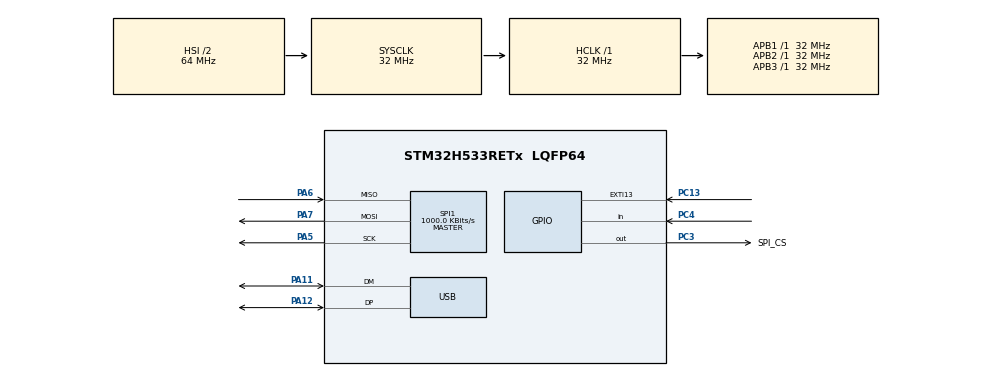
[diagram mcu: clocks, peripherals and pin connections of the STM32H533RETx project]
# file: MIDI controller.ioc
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BOOTPATH.BootPathName=LEGACY
BOOTPATH.UserSelectedBootPath=LEGACY
CORTEX_M33_NS.userName=CORTEX_M33
Mcu.Family=STM32H5
Mcu.Name=STM32H533RETx
Mcu.Package=LQFP64
NUCLEO-H533RE.BUTTON=1
NUCLEO-H533RE.LD4=true
NUCLEO-H533RE.VCP=true
NVIC.EXTI13_IRQn=true\:0\:0\:false\:false\:true\:false\:true\:true
NVIC.PriorityGroup=NVIC_PRIORITYGROUP_4
PA11.Mode=Device
PA11.Signal=USB_DM
PA12.Mode=Device
PA12.Signal=USB_DP
PA13(JTMS/SWDIO).GPIO_Label=SWDIO
PA13(JTMS/SWDIO).Signal=DEBUG_JTMS-SWDIO
PA14(JTCK/SWCLK).GPIO_Label=SWCLK
PA14(JTCK/SWCLK).Signal=DEBUG_JTCK-SWCLK
PA15(JTDI).GPIO_Label=JTDI
PA15(JTDI).Signal=DEBUG_JTDI
PA2.Signal=USART2_TX
PA3.Signal=USART2_RX
PA5.Mode=Full_Duplex_Master
PA5.Signal=SPI1_SCK
PA6.Mode=Full_Duplex_Master
PA6.Signal=SPI1_MISO
PA7.Mode=Full_Duplex_Master
PA7.Signal=SPI1_MOSI
PB3(JTDO/TRACESWO).GPIO_Label=SWO
PB3(JTDO/TRACESWO).Signal=DEBUG_JTDO-SWO
PC13.Signal=GPXTI13
PC3.GPIO_Label=SPI_CS
PC3.Signal=GPIO_Output
PC4.Signal=GPIO_Input
ProjectManager.HeapSize=0x200
ProjectManager.StackSize=0x400
ProjectManager.TargetToolchain=STM32CubeIDE
RCC.ADCFreq_Value=32000000
RCC.AHBFreq_Value=32000000
RCC.APB1Freq_Value=32000000
RCC.APB1TimFreq_Value=32000000
RCC.APB2Freq_Value=32000000
RCC.APB2TimFreq_Value=32000000
RCC.APB3Freq_Value=32000000
RCC.CSI_VALUE=4000000
RCC.CortexFreq_Value=32000000
RCC.EPOD_VALUE=4000000
RCC.HCLKFreq_Value=32000000
RCC.HSE_VALUE=25000000
RCC.HSI48_VALUE=48000000
RCC.HSI_VALUE=64000000
RCC.LSE_VALUE=32768
RCC.LSIRC_VALUE=32000
RCC.PLL1Q=3
RCC.PLLFRACN=0
RCC.PLLN=32
RCC.SPI1CLockSelection=RCC_SPI1CLKSOURCE_CLKP
RCC.SYSCLKFreq_VALUE=32000000
RCC.USBFreq_Value=48000000
RCC.VCOOutputFreq_Value=128000000
SPI1.BaudRatePrescaler=SPI_BAUDRATEPRESCALER_32
SPI1.CalculateBaudRate=1000.0 KBits/s
SPI1.DataSize=SPI_DATASIZE_8BIT
SPI1.Direction=SPI_DIRECTION_2LINES
SPI1.Mode=SPI_MODE_MASTER
SPI1.VirtualType=VM_MASTER
USB.VirtualMode=Device_Only
VP_BOOTPATH_VS_BOOTPATH.Mode=BP_Activate
VP_CORTEX_M33_NS_VS_Hclk.Mode=Hclk_Mode
VP_MEMORYMAP_VS_MEMORYMAP.Mode=CurAppReg
VP_NUCLEO-H533RE_VS_BSP_COMMON.Mode=COMMON
VP_PWR_VS_LPOM.Mode=PowerOptimisation
VP_PWR_VS_SECSignals.Mode=Security/Privilege
board=NUCLEO-H533RE

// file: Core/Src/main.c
/* USER CODE BEGIN Header */
/**
  ******************************************************************************
  * @file           : main.c
  * @brief          : Definitieve MIDI Matrix Controller met Diagnose-LED
  ******************************************************************************
  */
/* USER CODE END Header */
#include "main.h"

/* USER CODE BEGIN Includes */
#include <stdbool.h>
#include "tusb.h"
/* USER CODE END Includes */

/* USER CODE BEGIN PD */
#define ADDR_WRITE  0x40
#define ADDR_READ   0x41
#define IODIRA      0x00
#define IODIRB      0x01
#define GPPUB       0x0D
#define GPIOA_REG   0x12
#define GPIOB_REG   0x13
/* Debounce: 3 opeenvolgende scans (3 × 20ms = 60ms) moeten
 * consistent zijn voor een toestandsovergang wordt bevestigd. */
#define DEBOUNCE_THRESHOLD  3
/* USER CODE END PD */

SPI_HandleTypeDef hspi1;

PCD_HandleTypeDef hpcd_USB_DRD_FS;

/* USER CODE BEGIN PV */
bool    key_state[16]      = {false}; /* bevestigde toestand per toets */
uint8_t debounce_count[16] = {0};     /* integrator teller 0..DEBOUNCE_THRESHOLD */
/* USER CODE END PV */

void SystemClock_Config(void);
void PeriphCommonClock_Config(void);
static void MX_GPIO_Init(void);
static void MX_USB_PCD_Init(void);
static void MX_SPI1_Init(void);
/* USER CODE BEGIN PFP */
void MCP_Write(uint8_t reg, uint8_t data);
uint8_t MCP_Read(uint8_t reg);
void Matrix_Scan(void);
/* USER CODE END PFP */

/* USER CODE BEGIN 0 */
void MCP_Write(uint8_t reg, uint8_t data) {
    uint8_t tx[3] = {ADDR_WRITE, reg, data};
    HAL_GPIO_WritePin(SPI_CS_GPIO_Port, SPI_CS_Pin, GPIO_PIN_RESET);
    HAL_SPI_Transmit(&hspi1, tx, 3, 10);
    HAL_GPIO_WritePin(SPI_CS_GPIO_Port, SPI_CS_Pin, GPIO_PIN_SET);
}

uint8_t MCP_Read(uint8_t reg) {
    uint8_t tx[3] = {ADDR_READ, reg, 0x00};
    uint8_t rx[3] = {0, 0, 0};
    HAL_GPIO_WritePin(SPI_CS_GPIO_Port, SPI_CS_Pin, GPIO_PIN_RESET);
    HAL_SPI_TransmitReceive(&hspi1, tx, rx, 3, 10);
    HAL_GPIO_WritePin(SPI_CS_GPIO_Port, SPI_CS_Pin, GPIO_PIN_SET);
    return rx[2];
}

void Matrix_Scan(void) {
    for (int col = 0; col < 4; col++) {
        MCP_Write(GPIOA_REG, (uint8_t)(~(1u << col)));
        uint8_t rows = MCP_Read(GPIOB_REG) & 0x0F;

        for (int row = 0; row < 4; row++) {
            int     index = (row * 4) + col;
            uint8_t note  = 60 + index;

            /* Ruwe (niet-gedebounced) lezing: actief LAAG */
            bool raw = !(rows & (1u << row));

            /* Integrator debounce:
             *   Ingedrukt  → teller omhoog tot DEBOUNCE_THRESHOLD
             *   Losgelaten → teller omlaag tot 0
             * Toestand wordt pas bevestigd bij respectievelijk
             * de bovengrens of de ondergrens. */
            if (raw) {
                if (debounce_count[index] < DEBOUNCE_THRESHOLD)
                    debounce_count[index]++;
            } else {
                if (debounce_count[index] > 0)
                    debounce_count[index]--;
            }

            bool debounced_pressed  = (debounce_count[index] >= DEBOUNCE_THRESHOLD);
            bool debounced_released = (debounce_count[index] == 0);

            /* Stuur MIDI alleen bij bevestigde toestandsovergang */
            if (tud_midi_mounted()) {
                if (debounced_pressed && !key_state[index]) {
                    key_state[index] = true;
                    uint8_t msg[] = {0x09, 0x90, note, 127};
                    tud_midi_packet_write(msg);
                } else if (debounced_released && key_state[index]) {
                    key_state[index] = false;
                    uint8_t msg[] = {0x08, 0x80, note, 0};
                    tud_midi_packet_write(msg);
                }
            }
        }
    }
}
/* USER CODE END 0 */

int main(void)
{

  /* MCU Configuration--------------------------------------------------------*/

  /* Reset of all peripherals, Initializes the Flash interface and the Systick. */
  HAL_Init();

  /* Configure the system clock */
  SystemClock_Config();

  /* Configure the peripherals common clocks */
  PeriphCommonClock_Config();

  /* Initialize all configured peripherals */
  MX_GPIO_Init();
  MX_USB_PCD_Init();
  MX_SPI1_Init();
  /* USER CODE BEGIN 2 */
  /* CRS: synchroniseer HSI48 op USB SOF pulsen */
  __HAL_RCC_CRS_CLK_ENABLE();
  RCC_CRSInitTypeDef RCC_CRSInitStruct = {0};
  RCC_CRSInitStruct.Prescaler             = RCC_CRS_SYNC_DIV1;
  RCC_CRSInitStruct.Source                = RCC_CRS_SYNC_SOURCE_USB;
  RCC_CRSInitStruct.Polarity              = RCC_CRS_SYNC_POLARITY_RISING;
  RCC_CRSInitStruct.ReloadValue           = __HAL_RCC_CRS_RELOADVALUE_CALCULATE(48000000, 1000);
  RCC_CRSInitStruct.ErrorLimitValue       = 34;
  RCC_CRSInitStruct.HSI48CalibrationValue = 32;
  HAL_RCCEx_CRSConfig(&RCC_CRSInitStruct);

  /* TinyUSB */
  tusb_init();

  /* MCP23S17 init */
  HAL_Delay(500);
  MCP_Write(IODIRA, 0x00); /* GPA0-3 output (kolommen) */
  MCP_Write(IODIRB, 0xFF); /* GPB0-3 input  (rijen)    */
  MCP_Write(GPPUB,  0x0F); /* pull-ups op GPB0-3       */

  /* Readback self-test: bewijst dat SPI werkt */
  if (MCP_Read(IODIRA) != 0x00 || MCP_Read(GPPUB) != 0x0F) {
    Error_Handler(); /* SPI defect: hangt hier (zichtbaar in debugger) */
  }
  /* USER CODE END 2 */

  /* Infinite loop */
  while (1)
  {

    /* USER CODE BEGIN 3 */
    tud_task();
    static uint32_t last_scan = 0;
    if (HAL_GetTick() - last_scan >= 20) {
      last_scan = HAL_GetTick();
      Matrix_Scan();
    }
  }
  /* USER CODE END 3 */
}

void SystemClock_Config(void)
{
  RCC_OscInitTypeDef RCC_OscInitStruct = {0};
  RCC_ClkInitTypeDef RCC_ClkInitStruct = {0};

  /** Configure the main internal regulator output voltage
  */
  __HAL_PWR_VOLTAGESCALING_CONFIG(PWR_REGULATOR_VOLTAGE_SCALE3);

  while(!__HAL_PWR_GET_FLAG(PWR_FLAG_VOSRDY)) {}

  /** Initializes the RCC Oscillators according to the specified parameters
  * in the RCC_OscInitTypeDef structure.
  */
  RCC_OscInitStruct.OscillatorType = RCC_OSCILLATORTYPE_HSI48|RCC_OSCILLATORTYPE_HSI;
  RCC_OscInitStruct.HSIState = RCC_HSI_ON;
  RCC_OscInitStruct.HSIDiv = RCC_HSI_DIV2;
  RCC_OscInitStruct.HSICalibrationValue = RCC_HSICALIBRATION_DEFAULT;
  RCC_OscInitStruct.HSI48State = RCC_HSI48_ON;
  RCC_OscInitStruct.PLL.PLLState = RCC_PLL_NONE;
  if (HAL_RCC_OscConfig(&RCC_OscInitStruct) != HAL_OK)
  {
    Error_Handler();
  }

  /** Initializes the CPU, AHB and APB buses clocks
  */
  RCC_ClkInitStruct.ClockType = RCC_CLOCKTYPE_HCLK|RCC_CLOCKTYPE_SYSCLK
                              |RCC_CLOCKTYPE_PCLK1|RCC_CLOCKTYPE_PCLK2
                              |RCC_CLOCKTYPE_PCLK3;
  RCC_ClkInitStruct.SYSCLKSource = RCC_SYSCLKSOURCE_HSI;
  RCC_ClkInitStruct.AHBCLKDivider = RCC_SYSCLK_DIV1;
  RCC_ClkInitStruct.APB1CLKDivider = RCC_HCLK_DIV1;
  RCC_ClkInitStruct.APB2CLKDivider = RCC_HCLK_DIV1;
  RCC_ClkInitStruct.APB3CLKDivider = RCC_HCLK_DIV1;

  if (HAL_RCC_ClockConfig(&RCC_ClkInitStruct, FLASH_LATENCY_1) != HAL_OK)
  {
    Error_Handler();
  }

  /** Configure the programming delay
  */
  __HAL_FLASH_SET_PROGRAM_DELAY(FLASH_PROGRAMMING_DELAY_0);
}

void PeriphCommonClock_Config(void)
{
  RCC_PeriphCLKInitTypeDef PeriphClkInitStruct = {0};

  /** Initializes the peripherals clock
  */
  PeriphClkInitStruct.PeriphClockSelection = RCC_PERIPHCLK_CKPER;
  PeriphClkInitStruct.CkperClockSelection = RCC_CLKPSOURCE_HSI;
  if (HAL_RCCEx_PeriphCLKConfig(&PeriphClkInitStruct) != HAL_OK)
  {
    Error_Handler();
  }
}

static void MX_SPI1_Init(void)
{

  /* SPI1 parameter configuration*/
  hspi1.Instance = SPI1;
  hspi1.Init.Mode = SPI_MODE_MASTER;
  hspi1.Init.Direction = SPI_DIRECTION_2LINES;
  hspi1.Init.DataSize = SPI_DATASIZE_8BIT;
  hspi1.Init.CLKPolarity = SPI_POLARITY_LOW;
  hspi1.Init.CLKPhase = SPI_PHASE_1EDGE;
  hspi1.Init.NSS = SPI_NSS_SOFT;
  hspi1.Init.BaudRatePrescaler = SPI_BAUDRATEPRESCALER_32;
  hspi1.Init.FirstBit = SPI_FIRSTBIT_MSB;
  hspi1.Init.TIMode = SPI_TIMODE_DISABLE;
  hspi1.Init.CRCCalculation = SPI_CRCCALCULATION_DISABLE;
  hspi1.Init.CRCPolynomial = 0x7;
  hspi1.Init.NSSPMode = SPI_NSS_PULSE_ENABLE;
  hspi1.Init.NSSPolarity = SPI_NSS_POLARITY_LOW;
  hspi1.Init.FifoThreshold = SPI_FIFO_THRESHOLD_01DATA;
  hspi1.Init.MasterSSIdleness = SPI_MASTER_SS_IDLENESS_00CYCLE;
  hspi1.Init.MasterInterDataIdleness = SPI_MASTER_INTERDATA_IDLENESS_00CYCLE;
  hspi1.Init.MasterReceiverAutoSusp = SPI_MASTER_RX_AUTOSUSP_DISABLE;
  hspi1.Init.MasterKeepIOState = SPI_MASTER_KEEP_IO_STATE_DISABLE;
  hspi1.Init.IOSwap = SPI_IO_SWAP_DISABLE;
  hspi1.Init.ReadyMasterManagement = SPI_RDY_MASTER_MANAGEMENT_INTERNALLY;
  hspi1.Init.ReadyPolarity = SPI_RDY_POLARITY_HIGH;
  if (HAL_SPI_Init(&hspi1) != HAL_OK)
  {
    Error_Handler();
  }

}

static void MX_USB_PCD_Init(void)
{

  hpcd_USB_DRD_FS.Instance = USB_DRD_FS;
  hpcd_USB_DRD_FS.Init.dev_endpoints = 8;
  hpcd_USB_DRD_FS.Init.speed = USBD_FS_SPEED;
  hpcd_USB_DRD_FS.Init.phy_itface = PCD_PHY_EMBEDDED;
  hpcd_USB_DRD_FS.Init.Sof_enable = DISABLE;
  hpcd_USB_DRD_FS.Init.low_power_enable = DISABLE;
  hpcd_USB_DRD_FS.Init.lpm_enable = DISABLE;
  hpcd_USB_DRD_FS.Init.battery_charging_enable = DISABLE;
  hpcd_USB_DRD_FS.Init.vbus_sensing_enable = DISABLE;
  hpcd_USB_DRD_FS.Init.bulk_doublebuffer_enable = DISABLE;
  hpcd_USB_DRD_FS.Init.iso_singlebuffer_enable = DISABLE;
  if (HAL_PCD_Init(&hpcd_USB_DRD_FS) != HAL_OK)
  {
    Error_Handler();
  }

}

static void MX_GPIO_Init(void)
{
  GPIO_InitTypeDef GPIO_InitStruct = {0};

  /* GPIO Ports Clock Enable */
  __HAL_RCC_GPIOC_CLK_ENABLE();
  __HAL_RCC_GPIOA_CLK_ENABLE();
  __HAL_RCC_GPIOB_CLK_ENABLE();

  /*Configure GPIO pin Output Level */
  HAL_GPIO_WritePin(SPI_CS_GPIO_Port, SPI_CS_Pin, GPIO_PIN_SET); /* CS inactief hoog bij reset */

  /*Configure GPIO pin : SPI_CS_Pin */
  GPIO_InitStruct.Pin = SPI_CS_Pin;
  GPIO_InitStruct.Mode = GPIO_MODE_OUTPUT_PP;
  GPIO_InitStruct.Pull = GPIO_NOPULL;
  GPIO_InitStruct.Speed = GPIO_SPEED_FREQ_LOW;
  HAL_GPIO_Init(SPI_CS_GPIO_Port, &GPIO_InitStruct);

  /*Configure GPIO pin : PC4 */
  GPIO_InitStruct.Pin = GPIO_PIN_4;
  GPIO_InitStruct.Mode = GPIO_MODE_INPUT;
  GPIO_InitStruct.Pull = GPIO_NOPULL;
  HAL_GPIO_Init(GPIOC, &GPIO_InitStruct);

}

void Error_Handler(void)
{
  __disable_irq();
  while (1)
  {
  }
}
